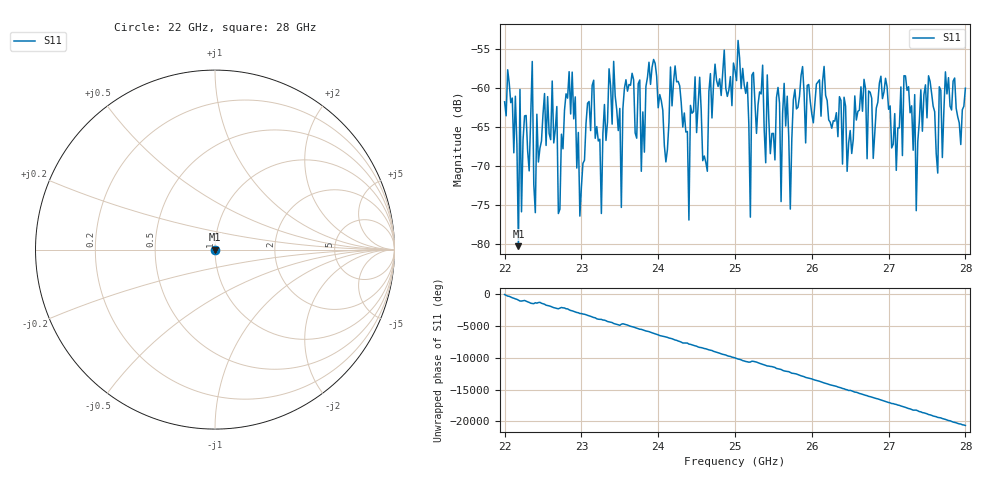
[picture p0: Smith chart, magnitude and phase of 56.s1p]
#  HZ  S  RI  R  50.00
! Rohde & Schwarz ZVA40 4Ports - Version 3.90 - 1145.1110k42 SN: 100403
! Date: 2023-10-04 06:36:16
! Measurement: S12
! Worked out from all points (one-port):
!   301 points, 22 GHz to 28 GHz, reference 50 ohm
!   lowest |S11| = -80.3 dB at 22.18 GHz (marker M1), VSWR 1.00, Z = 50 - j0.00121 ohm
!   |S11| at or under -10 dB: start of sweep to end of sweep
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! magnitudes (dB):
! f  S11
! 22 GHz  -61.8
! 22.14 GHz  -61.1
! 22.18 GHz  -80.3
! 22.2 GHz  -60.2
! 22.22 GHz  -75.9
! 22.36 GHz  -56.6
! 22.4 GHz  -76.0
! 22.76 GHz  -67.8
! 23.5 GHz  -62.7
! 23.52 GHz  -75.3
! 23.58 GHz  -59.0
! 24.26 GHz  -59.2
! 24.4 GHz  -76.9
! 24.48 GHz  -58.6
! 25 GHz  -57.8
! 25.16 GHz  -59.3
! 25.2 GHz  -76.6
! 25.22 GHz  -58.4
! 25.56 GHz  -60.0
! 25.6 GHz  -74.6
! 25.64 GHz  -59.5
! 25.72 GHz  -75.5
! 25.76 GHz  -61.5
! 26.5 GHz  -65.5
! 27.26 GHz  -59.9
! 27.36 GHz  -75.8
! 27.42 GHz  -60.3
! 28 GHz  -60.1
